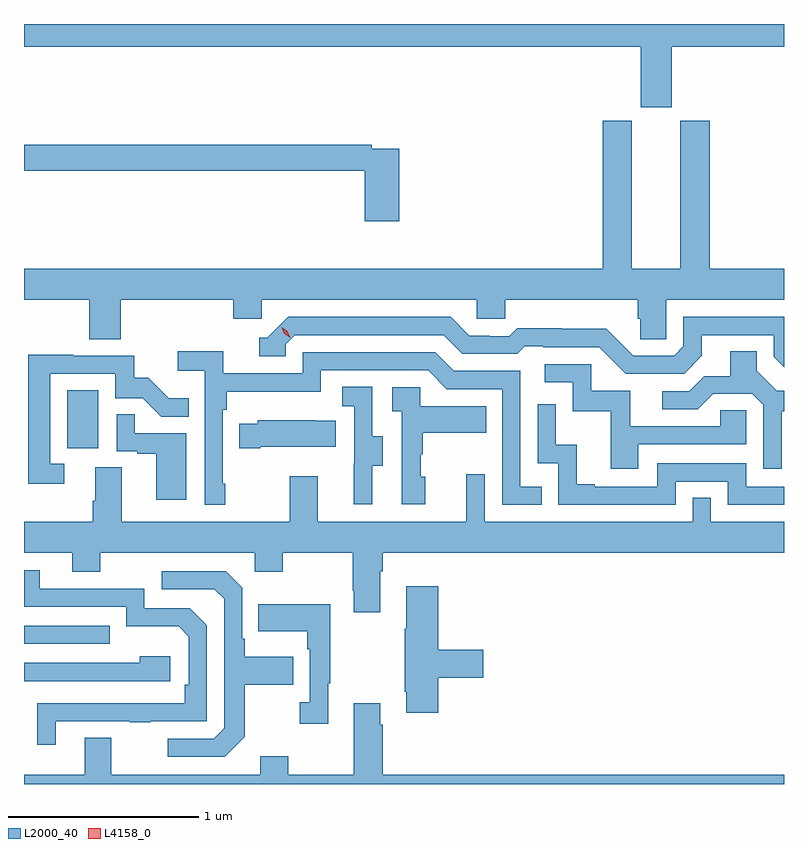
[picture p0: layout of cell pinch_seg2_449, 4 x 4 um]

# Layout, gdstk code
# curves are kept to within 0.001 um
import gdstk
lib = gdstk.Library(unit=1e-6, precision=1e-09)
def R(c, l, rs):  # rectangles x0, y0, x1, y1
    for r in rs: c.add(gdstk.rectangle(r[:2], r[2:], *l))
def P(c, l, *ps):  # polygons
    for p in ps: c.add(gdstk.Polygon(p, *l))
L2000_40 = (2000, 40)
L4158_0 = (4158, 0)

pinch_seg2_449 = lib.new_cell('pinch_seg2_449')
R(pinch_seg2_449, L2000_40, [(903.909,600.537,904.361,600.633), (904.136,601.566,904.3,601.873)])
P(pinch_seg2_449, L2000_40, [(907.318,603.68),(907.909,603.68),(907.909,603.8),(903.909,603.8),(903.909,603.68),(907.154,603.68),(907.154,603.363),(907.318,603.363)],
  [(904.418,602.348),(905.009,602.348),(905.009,602.25),(905.16,602.25),(905.16,602.348),(906.291,602.348),(906.291,602.25),(906.441,602.25),(906.441,602.348),(907.139,602.348),(907.139,602.25),(907.153,602.25),(907.153,602.14),(907.29,602.14),(907.29,602.348),(907.909,602.348),(907.909,602.512),(907.517,602.512),(907.517,603.291),(907.364,603.291),(907.364,602.512),(907.108,602.512),(907.108,603.291),(906.956,603.291),(906.956,602.512),(903.909,602.512),(903.909,602.348),(904.253,602.348),(904.253,602.14),(904.418,602.14)],
  [(905.885,603.144),(905.738,603.144),(905.738,603.164),(903.909,603.164),(903.909,603.028),(905.702,603.028),(905.702,602.763),(905.885,602.763)],
  [(907.477,602.053),(907.477,602.163),(907.854,602.163),(907.854,602.049),(907.909,601.994),(907.909,602.259),(907.38,602.259),(907.38,602.103),(907.332,602.055),(907.116,602.055),(906.974,602.197),(906.738,602.197),(906.738,602.2),(906.505,602.2),(906.463,602.157),(906.36,602.157),(906.36,602.16),(906.253,602.16),(906.154,602.259),(905.301,602.259),(905.19,602.148),(905.147,602.148),(905.147,602.052),(905.286,602.052),(905.286,602.115),(905.334,602.163),(906.117,602.163),(906.216,602.064),(906.505,602.064),(906.544,602.103),(906.643,602.103),(906.643,602.1),(906.936,602.1),(907.077,601.959),(907.383,601.959)],
  [(907.897,601.761),(907.909,601.761),(907.909,601.869),(907.872,601.869),(907.765,601.976),(907.765,602.078),(907.625,602.078),(907.625,601.946),(907.49,601.946),(907.41,601.866),(907.269,601.866),(907.269,601.773),(907.456,601.773),(907.537,601.854),(907.743,601.854),(907.8,601.797),(907.8,601.458),(907.897,601.458)],
  [(904.969,601.381),(904.956,601.381),(904.956,601.769),(904.976,601.769),(904.976,601.865),(905.472,601.865),(905.472,601.977),(906.036,601.977),(906.135,601.878),(906.426,601.878),(906.426,601.269),(906.635,601.269),(906.635,601.365),(906.522,601.365),(906.522,601.974),(906.172,601.974),(906.073,602.073),(905.376,602.073),(905.376,601.962),(904.958,601.962),(904.958,602.078),(904.719,602.078),(904.719,601.976),(904.86,601.976),(904.86,601.269),(904.969,601.269)],
  [(904.12,601.485),(904.047,601.485),(904.047,601.959),(904.389,601.959),(904.389,601.83),(904.533,601.83),(904.631,601.732),(904.775,601.732),(904.775,601.831),(904.671,601.831),(904.564,601.938),(904.488,601.938),(904.488,602.055),(904.169,602.055),(904.169,602.06),(903.931,602.06),(903.931,601.38),(904.12,601.38)],
  [(907.141,601.587),(907.71,601.587),(907.71,601.767),(907.573,601.767),(907.573,601.683),(907.099,601.683),(907.099,601.869),(906.894,601.869),(906.894,602.01),(906.651,602.01),(906.651,601.914),(906.798,601.914),(906.798,601.761),(906.997,601.761),(906.997,601.458),(907.141,601.458)],
  [(905.743,601.474),(905.797,601.474),(905.797,601.629),(905.742,601.629),(905.742,601.892),(905.583,601.892),(905.583,601.789),(905.646,601.789),(905.646,601.485),(905.645,601.485),(905.645,601.272),(905.743,601.272)],
  [(906.022,601.416),(905.997,601.416),(905.997,601.535),(906.007,601.535),(906.007,601.649),(906.341,601.649),(906.341,601.789),(905.994,601.789),(905.994,601.887),(905.847,601.887),(905.847,601.763),(905.898,601.763),(905.898,601.272),(906.022,601.272)],
  [(907.338,601.392),(907.614,601.392),(907.614,601.269),(907.909,601.269),(907.909,601.365),(907.71,601.365),(907.71,601.488),(907.242,601.488),(907.242,601.365),(906.913,601.365),(906.913,601.378),(906.818,601.378),(906.818,601.586),(906.708,601.586),(906.708,601.798),(906.612,601.798),(906.612,601.488),(906.72,601.488),(906.72,601.269),(907.338,601.269)],
  [(904.762,601.647),(904.493,601.647),(904.493,601.745),(904.398,601.745),(904.398,601.551),(904.505,601.551),(904.505,601.539),(904.604,601.539),(904.604,601.296),(904.762,601.296)],
  [(905.152,601.574),(905.549,601.574),(905.549,601.711),(905.441,601.711),(905.441,601.714),(905.139,601.714),(905.139,601.696),(905.041,601.696),(905.041,601.567),(905.152,601.567)],
  [(905.785,600.92),(905.798,600.92),(905.798,601.016),(907.909,601.016),(907.909,601.18),(907.524,601.18),(907.524,601.307),(907.428,601.307),(907.428,601.18),(906.333,601.18),(906.333,601.429),(906.236,601.429),(906.236,601.18),(905.455,601.18),(905.455,601.42),(905.308,601.42),(905.308,601.18),(904.423,601.18),(904.423,601.466),(904.283,601.466),(904.283,601.292),(904.271,601.292),(904.271,601.18),(903.909,601.18),(903.909,601.016),(904.163,601.016),(904.163,600.917),(904.311,600.917),(904.311,601.016),(905.124,601.016),(905.124,600.917),(905.271,600.917),(905.271,601.016),(905.638,601.016),(905.638,600.817),(905.645,600.817),(905.645,600.705),(905.785,600.705)],
  [(904.075,600.129),(904.465,600.129),(904.465,600.124),(904.577,600.124),(904.577,600.129),(904.872,600.129),(904.872,600.636),(904.782,600.726),(904.542,600.726),(904.542,600.828),(903.991,600.828),(903.991,600.924),(903.909,600.924),(903.909,600.732),(904.446,600.732),(904.446,600.629),(904.723,600.629),(904.776,600.576),(904.776,600.322),(904.756,600.322),(904.756,600.225),(903.979,600.224),(903.979,600.006),(904.075,600.006)],
  [(905.071,600.049),(905.071,600.322),(905.327,600.322),(905.327,600.469),(905.071,600.469),(905.071,600.565),(905.058,600.565),(905.058,600.834),(904.971,600.921),(904.635,600.921),(904.635,600.825),(904.911,600.825),(904.962,600.774),(904.962,600.093),(904.908,600.039),(904.665,600.039),(904.665,599.943),(904.965,599.943)],
  [(906.089,600.359),(906.325,600.359),(906.325,600.506),(906.089,600.506),(906.089,600.841),(905.921,600.841),(905.921,600.617),(905.914,600.617),(905.914,600.286),(905.921,600.286),(905.921,600.174),(906.089,600.174)],
  [(905.509,600.329),(905.521,600.329),(905.521,600.745),(905.143,600.745),(905.143,600.605),(905.4,600.605),(905.4,600.509),(905.412,600.509),(905.412,600.23),(905.361,600.23),(905.361,600.117),(905.509,600.117)],
  [(904.678,600.472),(904.517,600.472),(904.517,600.438),(903.909,600.438),(903.909,600.342),(904.678,600.342)],
  [(907.909,599.848),(905.798,599.848),(905.798,600.113),(905.785,600.113),(905.785,600.226),(905.645,600.226),(905.645,599.848),(905.301,599.848),(905.301,599.947),(905.153,599.947),(905.153,599.848),(904.369,599.848),(904.369,600.043),(904.229,600.043),(904.229,599.848),(903.909,599.848),(903.909,599.8),(907.909,599.8)])
P(pinch_seg2_449, L4158_0, [(905.311,602.15),(905.28,602.17),(905.265,602.203),(905.265,602.203),(905.265,602.203),(905.295,602.183),(905.311,602.15),(905.311,602.15)])

lib.write_gds('pinch_seg2_449.gds')
